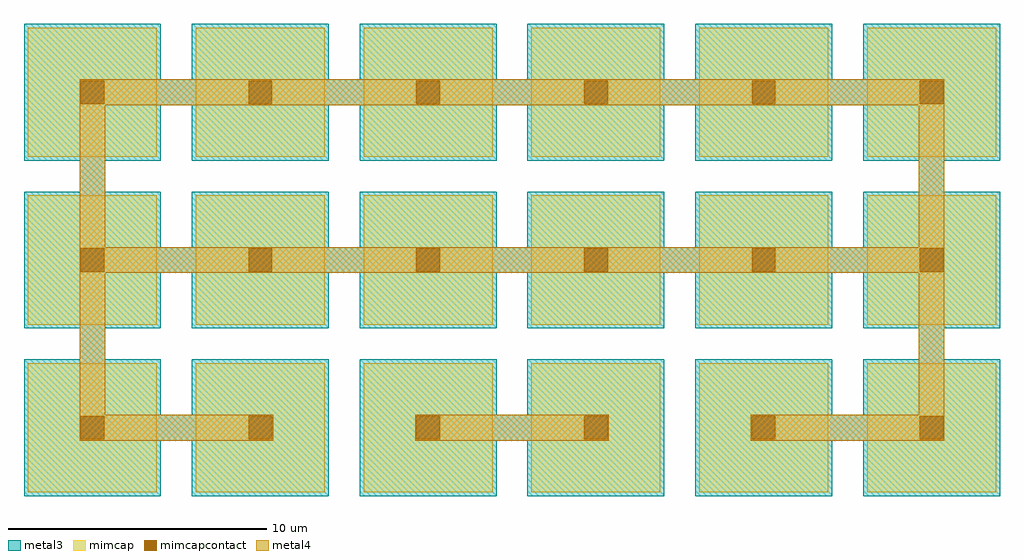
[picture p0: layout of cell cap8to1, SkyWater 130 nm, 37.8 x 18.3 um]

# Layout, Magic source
magic
tech sky130A
<< metal3 >>
rect 220 1545 3570 1645
rect 220 995 320 1545
rect 3470 995 3570 1545
rect 220 895 3570 995
rect 220 345 320 895
rect 3470 345 3570 895
rect 220 245 970 345
rect 1520 245 2270 345
rect 2820 245 3570 345
<< metal4 >>
rect 220 1545 3570 1645
rect 220 995 320 1545
rect 3470 995 3570 1545
rect 220 895 3570 995
rect 220 345 320 895
rect 3470 345 3570 895
rect 220 245 970 345
rect 1520 245 2270 345
rect 2820 245 3570 345
use m3cap50f  m3cap50f_7
transform 1 0 120 0 1 695
box -115 -15 415 515
use m3cap50f  m3cap50f_8
transform 1 0 770 0 1 695
box -115 -15 415 515
use m3cap50f  m3cap50f_3
transform 1 0 1420 0 1 695
box -115 -15 415 515
use m3cap50f  m3cap50f_14
transform -1 0 2370 0 1 695
box -115 -15 415 515
use m3cap50f  m3cap50f_9
transform -1 0 3020 0 1 695
box -115 -15 415 515
use m3cap50f  m3cap50f_6
transform 1 0 120 0 1 1345
box -115 -15 415 515
use m3cap50f  m3cap50f_5
transform 1 0 770 0 1 1345
box -115 -15 415 515
use m3cap50f  m3cap50f_4
transform 1 0 1420 0 1 1345
box -115 -15 415 515
use m3cap50f  m3cap50f_13
transform -1 0 2370 0 1 1345
box -115 -15 415 515
use m3cap50f  m3cap50f_12
transform -1 0 3020 0 1 1345
box -115 -15 415 515
use m3cap50f  m3cap50f_0
transform 1 0 120 0 1 45
box -115 -15 415 515
use m3cap50f  m3cap50f_17
transform -1 0 3670 0 1 45
box -115 -15 415 515
use m3cap50f  m3cap50f_16
transform -1 0 3020 0 1 45
box -115 -15 415 515
use m3cap50f  m3cap50f_15
transform -1 0 2370 0 1 45
box -115 -15 415 515
use m3cap50f  m3cap50f_2
transform 1 0 1420 0 1 45
box -115 -15 415 515
use m3cap50f  m3cap50f_1
transform 1 0 770 0 1 45
box -115 -15 415 515
use m3cap50f  m3cap50f_10
transform -1 0 3670 0 1 695
box -115 -15 415 515
use m3cap50f  m3cap50f_11
transform -1 0 3670 0 1 1345
box -115 -15 415 515
<< end >>

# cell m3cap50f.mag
magic
tech sky130A
<< metal3 >>
rect -115 -15 415 515
<< mimcap >>
rect -100 295 400 500
rect -100 205 105 295
rect 195 205 400 295
rect -100 0 400 205
<< mimcapcontact >>
rect 105 205 195 295
<< metal4 >>
rect 100 295 200 300
rect 100 205 105 295
rect 195 205 200 295
rect 100 200 200 205
<< labels >>
rlabel metal3 415 40 415 40 3 2
rlabel metal4 200 245 200 245 3 1
<< end >>
